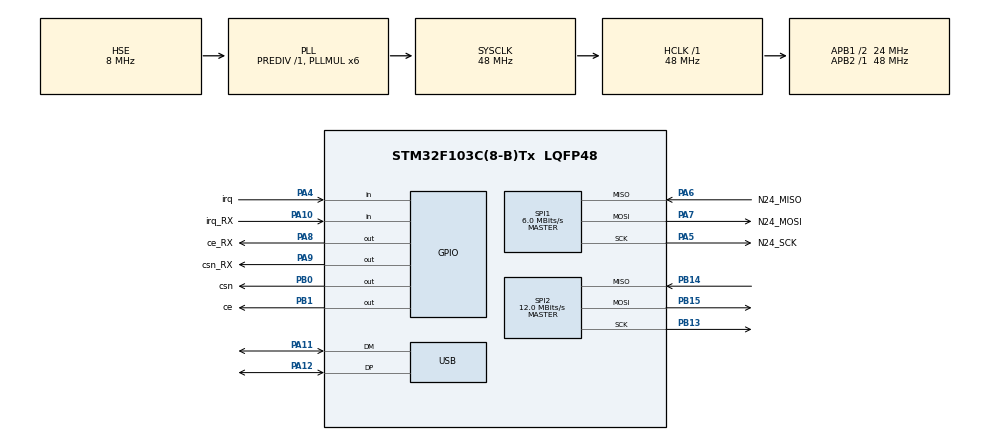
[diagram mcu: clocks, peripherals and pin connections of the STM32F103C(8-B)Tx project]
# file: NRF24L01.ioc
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Mcu.Family=STM32F1
Mcu.Name=STM32F103C(8-B)Tx
Mcu.Package=LQFP48
NVIC.PriorityGroup=NVIC_PRIORITYGROUP_4
NVIC.USB_LP_CAN1_RX0_IRQn=true\:0\:0\:false\:false\:true\:false\:true
PA10.GPIO_Label=irq_RX
PA10.Signal=GPIO_Input
PA11.Mode=Device
PA11.Signal=USB_DM
PA12.Mode=Device
PA12.Signal=USB_DP
PA13.Mode=Serial_Wire
PA13.Signal=SYS_JTMS-SWDIO
PA14.Mode=Serial_Wire
PA14.Signal=SYS_JTCK-SWCLK
PA4.GPIO_Label=irq
PA4.Signal=GPIO_Input
PA5.GPIO_Label=N24_SCK
PA5.Mode=Full_Duplex_Master
PA5.Signal=SPI1_SCK
PA6.GPIO_Label=N24_MISO
PA6.Mode=Full_Duplex_Master
PA6.Signal=SPI1_MISO
PA7.GPIO_Label=N24_MOSI
PA7.Mode=Full_Duplex_Master
PA7.Signal=SPI1_MOSI
PA8.GPIO_Label=ce_RX
PA8.Signal=GPIO_Output
PA9.GPIO_Label=csn_RX
PA9.Signal=GPIO_Output
PB0.GPIO_Label=csn
PB0.Signal=GPIO_Output
PB1.GPIO_Label=ce
PB1.Signal=GPIO_Output
PB13.Mode=Full_Duplex_Master
PB13.Signal=SPI2_SCK
PB14.Mode=Full_Duplex_Master
PB14.Signal=SPI2_MISO
PB15.Mode=Full_Duplex_Master
PB15.Signal=SPI2_MOSI
PD0-OSC_IN.Mode=HSE-External-Oscillator
PD0-OSC_IN.Signal=RCC_OSC_IN
PD1-OSC_OUT.Mode=HSE-External-Oscillator
PD1-OSC_OUT.Signal=RCC_OSC_OUT
ProjectManager.HeapSize=0x200
ProjectManager.StackSize=0x400
ProjectManager.TargetToolchain=STM32CubeIDE
RCC.AHBFreq_Value=48000000
RCC.APB1CLKDivider=RCC_HCLK_DIV2
RCC.APB1Freq_Value=24000000
RCC.APB1TimFreq_Value=48000000
RCC.APB2Freq_Value=48000000
RCC.APB2TimFreq_Value=48000000
RCC.HCLKFreq_Value=48000000
RCC.PLLMUL=RCC_PLL_MUL6
RCC.PLLSourceVirtual=RCC_PLLSOURCE_HSE
RCC.SYSCLKFreq_VALUE=48000000
RCC.SYSCLKSource=RCC_SYSCLKSOURCE_PLLCLK
RCC.USBFreq_Value=48000000
SPI1.BaudRatePrescaler=SPI_BAUDRATEPRESCALER_8
SPI1.CalculateBaudRate=6.0 MBits/s
SPI1.Direction=SPI_DIRECTION_2LINES
SPI1.Mode=SPI_MODE_MASTER
SPI1.VirtualType=VM_MASTER
SPI2.CalculateBaudRate=12.0 MBits/s
SPI2.Direction=SPI_DIRECTION_2LINES
SPI2.Mode=SPI_MODE_MASTER
SPI2.VirtualType=VM_MASTER
USB_DEVICE.CLASS_NAME_FS=CDC
USB_DEVICE.VirtualMode=Cdc
USB_DEVICE.VirtualModeFS=Cdc_FS
VP_USB_DEVICE_VS_USB_DEVICE_CDC_FS.Mode=CDC_FS
board=custom

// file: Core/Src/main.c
/* USER CODE BEGIN Header */
/**
  ******************************************************************************
  * @file           : main.c
  * @brief          : Main program body
  ******************************************************************************
  * @attention
  *
  * <h2><center>&copy; Copyright (c) 2020 STMicroelectronics.
  * All rights reserved.</center></h2>
  *
  * This software component is licensed by ST under Ultimate Liberty license
  * SLA0044, the "License"; You may not use this file except in compliance with
  * the License. You may obtain a copy of the License at:
  *                             www.st.com/SLA0044
  *
  ******************************************************************************
  */
/* USER CODE END Header */
#include "main.h"
#include "spi.h"
#include "usb_device.h"
#include "gpio.h"

/* USER CODE BEGIN Includes */
#include "usbd_cdc.h"
#include "nRF24L01.h"
/* USER CODE END Includes */

void SystemClock_Config(void);

int main(void)
{

  /* MCU Configuration--------------------------------------------------------*/

  /* Reset of all peripherals, Initializes the Flash interface and the Systick. */
  HAL_Init();

  /* Configure the system clock */
  SystemClock_Config();

  /* Initialize all configured peripherals */
  MX_GPIO_Init();
  MX_SPI1_Init();
  MX_USB_DEVICE_Init();
  MX_SPI2_Init();
  /* USER CODE BEGIN 2 */

  	// TX init
	struct nRF24_Handle TX_n24_H;
	TX_n24_H.hspi = &hspi1;
	TX_n24_H.CSN_GPIO_Port = csn_GPIO_Port;
	TX_n24_H.CSN_Pin = csn_Pin;
	TX_n24_H.CE_GPIO_Port = ce_GPIO_Port;
	TX_n24_H.CE_Pin = ce_Pin;
	TX_n24_H.IQR_GPIO_Port = irq_GPIO_Port;
	TX_n24_H.IQR_Pin = irq_Pin;

	nRF24_QS(TX_n24_H, 1);
	nRF24_FlushRX(TX_n24_H);
	nRF24_FlushTX(TX_n24_H);

	// RX init
	struct nRF24_Handle RX_n24_H;
	RX_n24_H.hspi = &hspi2;
	RX_n24_H.CSN_GPIO_Port = csn_RX_GPIO_Port;
	RX_n24_H.CSN_Pin = csn_RX_Pin;
	RX_n24_H.CE_GPIO_Port = ce_RX_GPIO_Port;
	RX_n24_H.CE_Pin = ce_RX_Pin;
	RX_n24_H.IQR_GPIO_Port = irq_RX_GPIO_Port;
	RX_n24_H.IQR_Pin = irq_RX_Pin;

	nRF24_QS(RX_n24_H, 0);
	nRF24_FlushRX(RX_n24_H);
	nRF24_FlushTX(RX_n24_H);
	uint8_t rx_data = 0x00;
	uint8_t Data = 0x14;

	// Channel Address management
	uint8_t pipe_addr[5] = {0x78, 0x78, 0x78, 0x78, 0x78};		// Set channel address as 0x7878787878
	nRF24_SetDataPipeADDR(TX_n24_H, 0x0A, pipe_addr);	//PTX RX pipe 0
	nRF24_SetDataPipeADDR(TX_n24_H, 0x10, pipe_addr);	//PTX TX_ADD
	nRF24_SetDataPipeADDR(RX_n24_H, 0x0B, pipe_addr);	//PRX RX pipe 1

	// Set RX data pipe size
	nRF24_SetDataPipeSize(RX_n24_H, 0x0B, 2);

  /* USER CODE END 2 */

  /* Infinite loop */
  while (1)
  {

    /* USER CODE BEGIN 3 */

	  // TX part (SPI 1)

	  nRF24_RegWrite(TX_n24_H, 0x07, 0x70);		// Clear interrupt
	  Data = Data % 255;
	  Data++;
	  uint8_t W_TX_Payload = 0xA0;

	  nRF24_TX_WritePayload(TX_n24_H, &Data, sizeof(Data), W_TX_Payload);
	  nRF24_TX_SendPayload(TX_n24_H, 0);

	  uint8_t RX_Empty = (nRF24_RegRead(RX_n24_H, 0x17));	// Data in FIFO
	  nRF24_FlushTX(TX_n24_H);

	  // RX part (SPI 2)
	  nRF24_RX_ReadPayload(RX_n24_H, &rx_data, sizeof(rx_data));

  }
  /* USER CODE END 3 */
}

void SystemClock_Config(void)
{
  RCC_OscInitTypeDef RCC_OscInitStruct = {0};
  RCC_ClkInitTypeDef RCC_ClkInitStruct = {0};
  RCC_PeriphCLKInitTypeDef PeriphClkInit = {0};

  /** Initializes the RCC Oscillators according to the specified parameters
  * in the RCC_OscInitTypeDef structure.
  */
  RCC_OscInitStruct.OscillatorType = RCC_OSCILLATORTYPE_HSE;
  RCC_OscInitStruct.HSEState = RCC_HSE_ON;
  RCC_OscInitStruct.HSEPredivValue = RCC_HSE_PREDIV_DIV1;
  RCC_OscInitStruct.HSIState = RCC_HSI_ON;
  RCC_OscInitStruct.PLL.PLLState = RCC_PLL_ON;
  RCC_OscInitStruct.PLL.PLLSource = RCC_PLLSOURCE_HSE;
  RCC_OscInitStruct.PLL.PLLMUL = RCC_PLL_MUL6;
  if (HAL_RCC_OscConfig(&RCC_OscInitStruct) != HAL_OK)
  {
    Error_Handler();
  }
  /** Initializes the CPU, AHB and APB buses clocks
  */
  RCC_ClkInitStruct.ClockType = RCC_CLOCKTYPE_HCLK|RCC_CLOCKTYPE_SYSCLK
                              |RCC_CLOCKTYPE_PCLK1|RCC_CLOCKTYPE_PCLK2;
  RCC_ClkInitStruct.SYSCLKSource = RCC_SYSCLKSOURCE_PLLCLK;
  RCC_ClkInitStruct.AHBCLKDivider = RCC_SYSCLK_DIV1;
  RCC_ClkInitStruct.APB1CLKDivider = RCC_HCLK_DIV2;
  RCC_ClkInitStruct.APB2CLKDivider = RCC_HCLK_DIV1;

  if (HAL_RCC_ClockConfig(&RCC_ClkInitStruct, FLASH_LATENCY_1) != HAL_OK)
  {
    Error_Handler();
  }
  PeriphClkInit.PeriphClockSelection = RCC_PERIPHCLK_USB;
  PeriphClkInit.UsbClockSelection = RCC_USBCLKSOURCE_PLL;
  if (HAL_RCCEx_PeriphCLKConfig(&PeriphClkInit) != HAL_OK)
  {
    Error_Handler();
  }
}

void Error_Handler(void)
{
}

/************************ (C) COPYRIGHT STMicroelectronics *****END OF FILE****/
